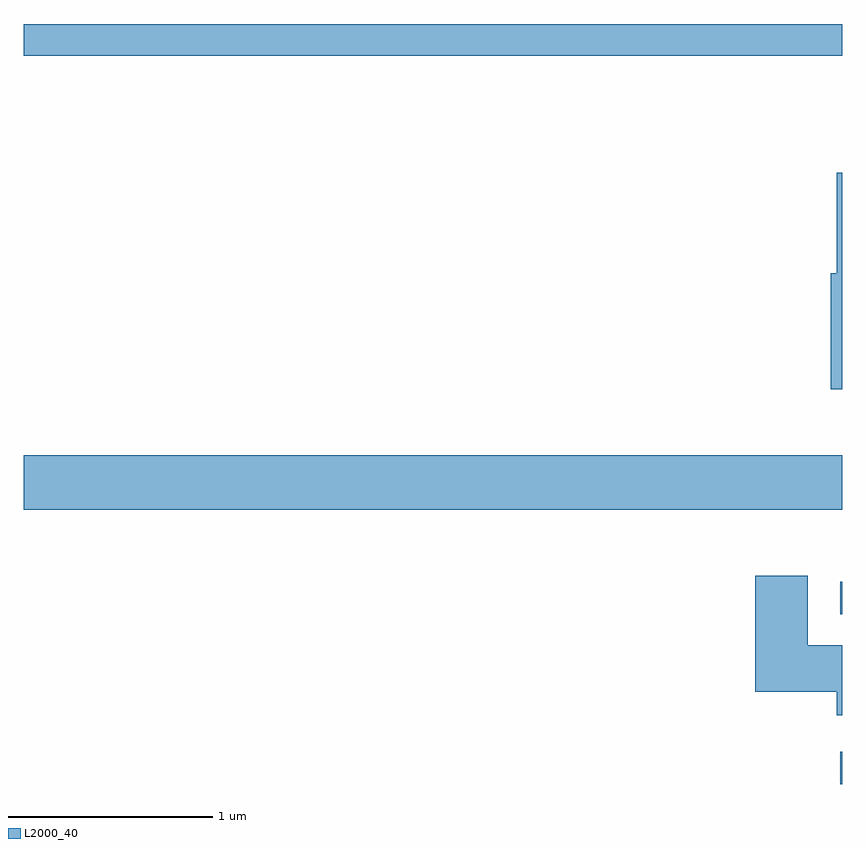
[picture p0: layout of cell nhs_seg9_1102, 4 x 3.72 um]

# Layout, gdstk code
import gdstk
lib = gdstk.Library(unit=1e-6, precision=1e-09)
def R(c, l, rs):  # rectangles x0, y0, x1, y1
    for r in rs: c.add(gdstk.rectangle(r[:2], r[2:], *l))
def P(c, l, *ps):  # polygons
    for p in ps: c.add(gdstk.Polygon(p, *l))
L2000_40 = (2000, 40)

nhs_seg9_1102 = lib.new_cell('nhs_seg9_1102')
R(nhs_seg9_1102, L2000_40, [(221.603,1972.716,221.611,1972.874), (221.603,1973.546,221.611,1973.704), (217.611,1974.056,221.611,1974.324), (217.611,1976.276,221.611,1976.432)])
P(nhs_seg9_1102, L2000_40, [(221.611,1975.704),(221.586,1975.704),(221.586,1975.214),(221.556,1975.214),(221.556,1974.646),(221.611,1974.646)],
  [(221.611,1973.394),(221.444,1973.394),(221.444,1973.734),(221.186,1973.734),(221.186,1973.166),(221.586,1973.166),(221.586,1973.051),(221.611,1973.051)])

lib.write_gds('nhs_seg9_1102.gds')
